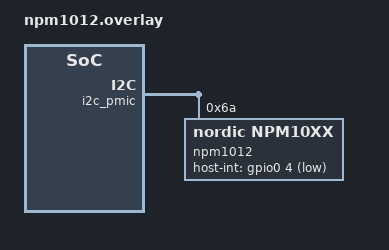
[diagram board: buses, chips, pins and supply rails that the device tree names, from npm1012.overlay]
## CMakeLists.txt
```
# Copyright (c) 2026 Nordic Semiconductor ASA
# SPDX-License-Identifier: LicenseRef-Nordic-5-Clause

cmake_minimum_required(VERSION 3.20.0)

find_package(Zephyr REQUIRED HINTS $ENV{ZEPHYR_BASE})

project(npm10xx_fuel_gauge)

add_subdirectory(src)
```

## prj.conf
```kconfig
# Copyright (c) 2026 Nordic Semiconductor ASA
# SPDX-License-Identifier: LicenseRef-Nordic-5-Clause

# Logging and shell
CONFIG_LOG=y
CONFIG_SHELL=y
CONFIG_LOG_CMDS=y
CONFIG_I2C_SHELL=y
CONFIG_LED_SHELL=y

# nPM10 drivers
CONFIG_CHARGER=y
CONFIG_MFD=y
CONFIG_SENSOR=y
CONFIG_LED=y
CONFIG_GPIO=y
CONFIG_WATCHDOG=y

# nRF Fuel Gauge lib
CONFIG_NRF_FUEL_GAUGE=y
CONFIG_NRF_FUEL_GAUGE_VARIANT_SECONDARY_CELL=y
CONFIG_REQUIRES_FLOAT_PRINTF=y
CONFIG_MAIN_STACK_SIZE=1536

# Persistent fuel gauge state
CONFIG_FLASH=y
CONFIG_FLASH_MAP=y
CONFIG_NVS=y
CONFIG_SETTINGS=y
CONFIG_SETTINGS_SHELL=y
CONFIG_NVS_LOOKUP_CACHE=y
CONFIG_SETTINGS_NVS_NAME_CACHE=y
```

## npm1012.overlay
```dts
/*
 * Copyright (c) 2026 Nordic Semiconductor ASA
 *
 * SPDX-License-Identifier: LicenseRef-Nordic-5-Clause
 */

#include <zephyr/dt-bindings/regulator/npm13xx.h>
#include <zephyr/dt-bindings/input/input-event-codes.h>

&i2c_pmic {
	npm1012: pmic@6a {
		reg = <0x6a>;
		compatible = "nordic,npm10xx";

		pmic-int-gpio-config = <2 (GPIO_ACTIVE_LOW | GPIO_OPEN_DRAIN)>;
		host-int-gpios = <&gpio0 4 (GPIO_ACTIVE_LOW | GPIO_PULL_UP)>;

		npm1012_charger: charger {
			compatible = "nordic,npm10xx-charger";
			charging-enable;
			term-voltage-microvolt = <4200000>;
			charge-current-microamp = <10000>;
			term-current-percent = "6.25%";

			/* (weak charger) add vbus-limit-microamp and vbusdpm-microvolt as needed */
		};

		npm1012_adc: adc {
			compatible = "nordic,npm10xx-adc";
			thermistor-beta = <3434>;
		};

		npm1012_gpio: gpio {
			compatible = "nordic,npm10xx-gpio";
			gpio-controller;
			#gpio-cells = <2>;
			ngpios = <3>;
		};

		npm1012_led: led {
			compatible = "nordic,npm10xx-led";

			charge_indicator: led0 {
				led-mode = "charge";
				index = <1>;
				label = "LED indicating charging connected to GPIO1";
			};
		};

		npm1012_watchdog: watchdog {
			compatible = "nordic,npm10xx-wdt";
		};
	};
};
```

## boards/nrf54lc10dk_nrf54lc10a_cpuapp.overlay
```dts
/*
 * Copyright (c) 2026 Nordic Semiconductor ASA
 *
 * SPDX-License-Identifier: LicenseRef-Nordic-5-Clause
 */

&pinctrl {
	i2c21_default: i2c21_default {
		group1 {
			psels = <NRF_PSEL(TWIM_SDA, 1, 11)>,
				<NRF_PSEL(TWIM_SCL, 1, 12)>;
			bias-pull-up;
		};
	};

	i2c21_sleep: i2c21_sleep {
		group1 {
			psels = <NRF_PSEL(TWIM_SDA, 1, 11)>,
				<NRF_PSEL(TWIM_SCL, 1, 12)>;
			low-power-enable;
		};
	};
};

i2c_pmic: &i2c21 {
	status = "okay";
	pinctrl-0 = <&i2c21_default>;
	pinctrl-1 = <&i2c21_sleep>;
	pinctrl-names = "default", "sleep";
};
```

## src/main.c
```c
/*
 * Copyright (c) 2023 Nordic Semiconductor ASA
 * SPDX-License-Identifier: LicenseRef-Nordic-5-Clause
 */

#include <zephyr/device.h>
#include <zephyr/drivers/charger.h>
#include <zephyr/drivers/charger/npm10xx.h>
#include <zephyr/drivers/mfd/npm10xx.h>
#include <zephyr/drivers/led.h>
#include <zephyr/drivers/sensor.h>
#include <zephyr/drivers/sensor/npm10xx.h>
#include <zephyr/logging/log.h>
#include <zephyr/settings/settings.h>

#include "fuel_gauge.h"

LOG_MODULE_REGISTER(main, CONFIG_LOG_DEFAULT_LEVEL);

#define SLEEP_TIME_MS 500

static const struct device *pmic = DEVICE_DT_GET(DT_NODELABEL(npm1012));
static const struct device *charger = DEVICE_DT_GET(DT_NODELABEL(npm1012_charger));
static const struct device *adc = DEVICE_DT_GET(DT_NODELABEL(npm1012_adc));
static const struct led_dt_spec charge_indicator = LED_DT_SPEC_GET(DT_NODELABEL(charge_indicator));
static atomic_t vbus_state_changed;

static void event_handler(const struct device *mfd, struct mfd_npm10xx_event_callback *cb,
			  uint64_t events)
{
	if (events & (NPM10XX_EVENT_VBUSPRESENTPE | NPM10XX_EVENT_VBUSPRESENTNE)) {
		atomic_set(&vbus_state_changed, true);
	}
}

int main(void)
{
	int err;
	bool vbus_connected;
	union charger_propval chgr_prop;

	if (!device_is_ready(pmic)) {
		LOG_ERR("Pmic device not ready");
		return -ENODEV;
	}

	if (!device_is_ready(charger)) {
		LOG_ERR("Charger device not ready");
		return -ENODEV;
	}

	if (!device_is_ready(adc)) {
		LOG_ERR("ADC device not ready");
		return -ENODEV;
	}

	if (IS_ENABLED(CONFIG_SETTINGS)) {
		err = settings_subsys_init();
		if (err < 0) {
			LOG_ERR("Settings subsystem could not be initialized (err %d)", err);
		}
	}

	err = fuel_gauge_init(adc, charger);
	if (err < 0) {
		LOG_ERR("Could not initialise fuel gauge (err %d)", err);
		return err;
	}

	/* initialise VBUS status */
	err = charger_get_prop(charger, CHARGER_PROP_ONLINE, &chgr_prop);
	if (err) {
		LOG_ERR("Failed to get VBUS status (err %d)", err);
		return err;
	}
	vbus_connected = chgr_prop.online == CHARGER_ONLINE_FIXED;

	/* configure callback for VBUS events */
	static struct mfd_npm10xx_event_callback event_cb = {
		.event_mask = NPM10XX_EVENT_VBUSPRESENTPE | NPM10XX_EVENT_VBUSPRESENTNE,
		.handler = event_handler,
	};

	err = mfd_npm10xx_manage_callback(pmic, &event_cb, true);
	if (err) {
		LOG_ERR("Failed to add pmic callback (err %d)", err);
		return err;
	}

	LOG_INF("PMIC device ok");

	err = led_set_brightness_dt(&charge_indicator, 50);
	if (err) {
		LOG_WRN("Failed to set charge indicator brightness (err %d)", err);
	}

	vbus_connected = false;
	atomic_set(&vbus_state_changed, true);

	while (1) {
		if (atomic_set(&vbus_state_changed, false)) {
			err = charger_get_prop(charger, CHARGER_PROP_ONLINE, &chgr_prop);
			if (err) {
				LOG_ERR("Failed to get VBUS status (err %d)", err);
				break;
			}

			vbus_connected = chgr_prop.online == CHARGER_ONLINE_FIXED;
			LOG_INF("VBUS %s", vbus_connected ? "connected" : "removed");
		}

		fuel_gauge_update(adc, charger, vbus_connected);

		/* Using constant sleep time to keep the sample simple.
		 * In a real application, the interval can be long when the battery is discharging
		 * at a slow rate. Reduce the interval during periods of higher discharge current
		 * (relative to the battery size). Also use shorter intervals during charging to
		 * facilitate state-of-health estimation.
		 */
		k_msleep(SLEEP_TIME_MS);
	}
}
```

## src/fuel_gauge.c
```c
/*
 * Copyright (c) 2026 Nordic Semiconductor ASA
 * SPDX-License-Identifier: LicenseRef-Nordic-5-Clause
 */

#include <math.h>

#include <zephyr/kernel.h>
#include <zephyr/device.h>
#include <zephyr/drivers/sensor.h>
#include <zephyr/drivers/charger.h>
#include <zephyr/drivers/charger/npm10xx.h>
#include <zephyr/settings/settings.h>
#include <zephyr/shell/shell.h>
#include <zephyr/logging/log.h>
#include <nrf_fuel_gauge.h>
#include "fuel_gauge.h"

LOG_MODULE_REGISTER(fuel_gauge, CONFIG_LOG_DEFAULT_LEVEL);

#define SETTINGS_KEY "fuel_gauge_state"

static const uint8_t iterm_div[] = {8, 1, 2, 4, 16, 32, 64, 128};
static const char * const chg_states[] = {"Charger idle",
				   "Trickle charging",
				   "Constant current charging",
				   "Constant current charging",
				   "Constant voltage charging",
				   "Charge complete"};

static int64_t ref_time;
static int32_t vterm_uv;

static atomic_t store_state;
static uint8_t fuel_gauge_state_buf[1024];

static enum nrf_fuel_gauge_charge_state chg_state_prev;

static const struct battery_model battery_model = {
#include "battery_model_20mAh.inc"
};

static enum nrf_fuel_gauge_charge_state
translate_charge_state(enum charger_status status, enum charger_charge_type type, int32_t vbat_uv)
{
	static enum nrf_fuel_gauge_charge_state state;

	if (status == CHARGER_STATUS_FULL) {
		state = NRF_FUEL_GAUGE_CHARGE_STATE_COMPLETE;

	} else if (status == CHARGER_STATUS_CHARGING) {
		switch (type) {
		case CHARGER_CHARGE_TYPE_TRICKLE:
			state = NRF_FUEL_GAUGE_CHARGE_STATE_TRICKLE;
			break;
		case CHARGER_CHARGE_TYPE_STANDARD:
			state = NRF_FUEL_GAUGE_CHARGE_STATE_CV;
			break;
		case CHARGER_CHARGE_TYPE_FAST:
			state = NRF_FUEL_GAUGE_CHARGE_STATE_CC;
			break;
		case CHARGER_CHARGE_TYPE_LONGLIFE:
			state = NRF_FUEL_GAUGE_CHARGE_STATE_CC_LIMITED;
			break;

		default:
			LOG_ERR("Wrong charge type %d", type);
		}

	} else {
		state = NRF_FUEL_GAUGE_CHARGE_STATE_IDLE;
	}

	return state;
}

static int read_sensors(const struct device *adc, const struct device *charger, float *voltage,
			float *current, float *temp, enum nrf_fuel_gauge_charge_state *state)
{
	struct sensor_value value;
	union charger_propval prop_status, prop_type;
	int32_t uv;
	int ret;

	ret = sensor_sample_fetch(adc);
	if (ret < 0) {
		return ret;
	}

	sensor_channel_get(adc, SENSOR_CHAN_GAUGE_VOLTAGE, &value);
	*voltage = sensor_value_to_float(&value);
	uv = (int32_t)sensor_value_to_micro(&value);

	sensor_channel_get(adc, SENSOR_CHAN_GAUGE_TEMP, &value);
	*temp = sensor_value_to_float(&value);

	sensor_channel_get(adc, SENSOR_CHAN_GAUGE_AVG_CURRENT, &value);
	*current = sensor_value_to_float(&value);

	ret = charger_get_prop(charger, CHARGER_PROP_STATUS, &prop_status);
	if (ret < 0) {
		return ret;
	}

	ret = charger_get_prop(charger, CHARGER_PROP_CHARGE_TYPE, &prop_type);
	if (ret < 0) {
		return ret;
	}

	*state = translate_charge_state(prop_status.status, prop_type.charge_type, uv);

	return 0;
}

static int charge_status_inform(enum nrf_fuel_gauge_charge_state state)
{
	union nrf_fuel_gauge_ext_state_info_data state_info = {.charge_state = state};

	LOG_INF("%s", chg_states[state]);

	return nrf_fuel_gauge_ext_state_update(NRF_FUEL_GAUGE_EXT_STATE_INFO_CHARGE_STATE_CHANGE,
					       &state_info);
}

int fuel_gauge_init(const struct device *adc, const struct device *charger)
{
	struct nrf_fuel_gauge_init_parameters parameters =
		NRF_FUEL_GAUGE_DEFAULT_INIT_PARAMETERS_SECONDARY(0.0f, 0.0f, 0.0f, &battery_model);
	union nrf_fuel_gauge_ext_state_info_data max_charge_current;
	union nrf_fuel_gauge_ext_state_info_data term_charge_current;
	union charger_propval chg_prop;
	enum nrf_fuel_gauge_charge_state chg_state;
	int ret;

	/* Store termination voltage to estimate CV state */
	ret = charger_get_prop(charger, CHARGER_PROP_CONSTANT_CHARGE_VOLTAGE_UV, &chg_prop);
	if (ret < 0) {
		return ret;
	}
	vterm_uv = chg_prop.const_charge_voltage_uv;

	/* Store charge nominal and termination current, needed for ttf calculation */
	ret = charger_get_prop(charger, CHARGER_PROP_CONSTANT_CHARGE_CURRENT_UA, &chg_prop);
	if (ret < 0) {
		return ret;
	}
	max_charge_current.charge_current_limit =
		(float)(chg_prop.const_charge_current_ua) / 1000000;
	ret = charger_get_prop(charger, NPM10XX_CHARGER_PROP_TERM_CURRENT, &chg_prop);
	if (ret < 0) {
		return ret;
	}
	term_charge_current.charge_term_current =
		max_charge_current.charge_current_limit / iterm_div[chg_prop.custom_uint];

	LOG_INF("nRF Fuel Gauge version: %s", nrf_fuel_gauge_version);

	ret = read_sensors(adc, charger, &parameters.v0, &parameters.i0, &parameters.t0,
			   &chg_state);
	if (ret < 0) {
		return ret;
	}
	/* Zephyr sensor API convention for Gauge current is negative=discharging,
	 * while nrf_fuel_gauge lib expects the opposite negative=charging
	 */
	parameters.i0 = -parameters.i0;

	if (IS_ENABLED(CONFIG_SETTINGS)) {
		ssize_t len;

		len = settings_load_one(SETTINGS_KEY, fuel_gauge_state_buf,
					sizeof(fuel_gauge_state_buf));
		if (len == nrf_fuel_gauge_state_size &&
			nrf_fuel_gauge_state_compatible_check(fuel_gauge_state_buf, len) == 0) {
			parameters.state = fuel_gauge_state_buf;
			parameters.state_size = len;
			LOG_INF("Previous fuel gauge state loaded");
		} else {
			LOG_INF("No previous fuel gauge state found, starting fresh");
		}
	}

	ret = nrf_fuel_gauge_init(&parameters, NULL);
	if (ret < 0) {
		LOG_ERR("Could not initialise fuel gauge (err %d)", ret);
		return ret;
	}

	ret = nrf_fuel_gauge_ext_state_update(NRF_FUEL_GAUGE_EXT_STATE_INFO_CHARGE_CURRENT_LIMIT,
					      &max_charge_current);
	if (ret < 0) {
		LOG_ERR("Could not set fuel gauge state (err %d)", ret);
		return ret;
	}

	ret = nrf_fuel_gauge_ext_state_update(NRF_FUEL_GAUGE_EXT_STATE_INFO_TERM_CURRENT,
					      &term_charge_current);
	if (ret < 0) {
		LOG_ERR("Could not set fuel gauge state (err %d)", ret);
		return ret;
	}

	ret = charge_status_inform(chg_state);
	if (ret < 0) {
		LOG_ERR("Could not set fuel gauge state (err %d)", ret);
		return ret;
	}

	ref_time = k_uptime_get();
	chg_state_prev = chg_state;

	return 0;
}

int fuel_gauge_update(const struct device *adc, const struct device *charger, bool vbus_connected)
{
	struct nrf_fuel_gauge_state_info state_info;
	enum nrf_fuel_gauge_charge_state chg_state;
	float voltage;
	float current;
	float temp;
	float soc;
	float soh;
	float tte;
	float ttf;
	float delta;
	int ret;

	ret = read_sensors(adc, charger, &voltage, &current, &temp, &chg_state);
	if (ret < 0) {
		LOG_ERR("Could not read from adc device (err %d)", ret);
		return ret;
	}

	ret = nrf_fuel_gauge_ext_state_update(
		vbus_connected ? NRF_FUEL_GAUGE_EXT_STATE_INFO_VBUS_CONNECTED
			       : NRF_FUEL_GAUGE_EXT_STATE_INFO_VBUS_DISCONNECTED,
		NULL);
	if (ret < 0) {
		LOG_ERR("Could not inform of state (err %d)", ret);
		return ret;
	}

	if (chg_state != chg_state_prev) {
		chg_state_prev = chg_state;

		ret = charge_status_inform(chg_state);
		if (ret < 0) {
			LOG_ERR("Could not inform of charge status (err %d)", ret);
			return ret;
		}
	}

	delta = (float)k_uptime_delta(&ref_time) / 1000.f;

	/* Zephyr sensor API convention for Gauge current is negative=discharging,
	 * while nrf_fuel_gauge lib expects the opposite negative=charging
	 */
	current = -current;

	ret = nrf_fuel_gauge_process(voltage, current, temp, delta, &soc, &state_info);
	if (ret < 0) {
		LOG_ERR("Fuel gauge process failed (err %d)", ret);
		return ret;
	}
	ret = nrf_fuel_gauge_soh_get(&soh);
	if (ret < 0) {
		LOG_ERR("Could not get SOH (err %d)", ret);
	}
	if (current >= 0.0f) {
		/* Discharging */
		ret = nrf_fuel_gauge_tte_get(&tte);
		if (ret < 0) {
			LOG_ERR("Could not get TTE (err %d)", ret);
		}
		ttf = NAN;
	} else {
		/* Charging */
		ret = nrf_fuel_gauge_ttf_get(&ttf);
		if (ret < 0) {
			LOG_ERR("Could not get TTE (err %d)", ret);
		}
		tte = NAN;
	}

	/* Current is displayed according to Zephyr sign convention */
	LOG_INF("V: %.3f, I: %.3f, T: %.2f, SoC: %.2f, TTE: %.0f, TTF: %.0f, SoH: %.2f, "
		"Cycles: %d, Chg: %.2f",
		(double)voltage, (double)-current, (double)temp, (double)soc, (double)tte,
		(double)ttf, (double)soh, state_info.cycle_count,
		(double)state_info.cycle_count_cumulative_mah);

	if (IS_ENABLED(CONFIG_SETTINGS) && atomic_set(&store_state, false)) {

		ret = nrf_fuel_gauge_state_get(fuel_gauge_state_buf, sizeof(fuel_gauge_state_buf));
		if (ret < 0) {
			LOG_ERR("Could not get fuel gauge state (err %d)", ret);
			return ret;
		}

		ret = settings_save_one(SETTINGS_KEY, fuel_gauge_state_buf,
					nrf_fuel_gauge_state_size);
		if (ret < 0) {
			LOG_ERR("Could not store fuel gauge state (err %d)", ret);
			return ret;
		}

		LOG_INF("Fuel gauge state stored");
	}

	return 0;
}

#if CONFIG_SHELL && CONFIG_SETTINGS
static int cmd_fuel_gauge_state_store(const struct shell *sh, size_t argc, char **argv)
{
	ARG_UNUSED(argc);
	ARG_UNUSED(argv);

	shell_print(sh, "Storing state after next update");
	atomic_set(&store_state, true);

	return 0;
}

SHELL_CMD_ARG_REGISTER(fuel_gauge_state_store, NULL, "Store battery state after next iteration",
		       cmd_fuel_gauge_state_store, 1, 0);
#endif /* CONFIG_SHELL && CONFIG_SETTINGS */
```

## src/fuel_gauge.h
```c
/*
 * Copyright (c) 2026 Nordic Semiconductor ASA
 * SPDX-License-Identifier: LicenseRef-Nordic-5-Clause
 */

#ifndef __FUEL_GAUGE_H__
#define __FUEL_GAUGE_H__

#include <zephyr/device.h>

int fuel_gauge_init(const struct device *adc, const struct device *charger);

int fuel_gauge_update(const struct device *adc, const struct device *charger, bool vbus_connected);

#endif /* __FUEL_GAUGE_H__ */
```
